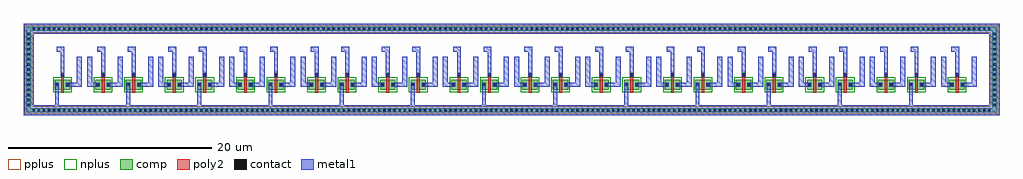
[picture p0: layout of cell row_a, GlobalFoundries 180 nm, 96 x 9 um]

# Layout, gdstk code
import gdstk
lib = gdstk.Library(unit=1e-6, precision=1e-09)
def R(c, l, rs):  # rectangles x0, y0, x1, y1
    for r in rs: c.add(gdstk.rectangle(r[:2], r[2:], *l))
def A(c, l, x, y, w, h, nx, ny, dx, dy):  # array of equal rectangles
    R(c, l, [(x+i*dx, y+j*dy, x+i*dx+w, y+j*dy+h) for i in range(nx) for j in range(ny)])
comp = (22, 0)
poly2 = (30, 0)
pplus = (31, 0)
nplus = (32, 0)
contact = (33, 0)
metal1 = (34, 0)

nfet__0 = lib.new_cell('nfet__0')
R(nfet__0, comp, [(-0.42,0,0,1), (0,0,0.66,1), (0.66,0,1.08,1)])
R(nfet__0, poly2, [(0.19,-0.3,0.47,1.3), (0.15,1.3,0.51,1.66)])
R(nfet__0, nplus, [(-0.59,-0.24,1.25,1.24)])
R(nfet__0, contact, [(-0.32,0.39,-0.1,0.61), (0.76,0.39,0.98,0.61), (0.22,1.37,0.44,1.59)])
R(nfet__0, metal1, [(-0.4,0.305,-0.02,0.695), (0.68,0.305,1.06,0.695), (0.14,1.285,0.52,1.675)])

row_a = lib.new_cell('row_a')
R(row_a, comp, [(-3.21,-2.21,-2.79,6.21), (-2.79,-2.21,91.79,-1.79), (91.79,-2.21,92.21,6.21), (-2.79,5.79,91.79,6.21)])
R(row_a, pplus, [(-3.37,-2.37,92.37,-1.63), (-3.37,-2.37,-2.63,6.37), (91.63,-2.37,92.37,6.37), (-3.37,5.63,92.37,6.37)])
A(row_a, contact, -2.61, -2.11, 0.22, 0.22, 189, 2, 0.5, 8)
A(row_a, contact, -3.11, -1.61, 0.22, 0.22, 1, 15, 0, 0.5)
A(row_a, contact, 91.89, -1.61, 0.22, 0.22, 1, 15, 0, 0.5)
A(row_a, metal1, -0.4, -2, 0.38, 2.325, 13, 1, 7, 0)
A(row_a, metal1, -0.4, 0.305, 0.38, 0.39, 13, 1, 7, 0)
A(row_a, metal1, 2.75, 0.305, 0.5, 2.945, 3, 1, 3, 0)
A(row_a, metal1, 2.75, 0.305, 1.23, 0.39, 13, 1, 7, 0)
A(row_a, metal1, 9.75, 0.305, 0.5, 2.945, 3, 1, 3, 0)
A(row_a, metal1, 16.75, 0.305, 0.5, 2.945, 3, 1, 3, 0)
A(row_a, metal1, 23.75, 0.305, 0.5, 2.945, 3, 1, 3, 0)
A(row_a, metal1, 30.75, 0.305, 0.5, 2.945, 3, 1, 3, 0)
A(row_a, metal1, 37.75, 0.305, 0.5, 2.945, 3, 1, 3, 0)
A(row_a, metal1, 44.75, 0.305, 0.5, 2.945, 3, 1, 3, 0)
A(row_a, metal1, 51.75, 0.305, 0.5, 2.945, 3, 1, 3, 0)
A(row_a, metal1, 58.75, 0.305, 0.5, 2.945, 3, 1, 3, 0)
A(row_a, metal1, 65.75, 0.305, 0.5, 2.945, 3, 1, 3, 0)
A(row_a, metal1, 72.75, 0.305, 0.5, 2.945, 3, 1, 3, 0)
A(row_a, metal1, 79.75, 0.305, 0.5, 2.945, 3, 1, 3, 0)
R(row_a, metal1, [(-3.5,-2.5,-2.5,6.5), (-2.5,-2.5,91.5,-1.5), (91.5,-2.5,92.5,6.5), (0.68,0.305,2.25,0.695), (1.75,0.305,2.25,3.25), (4.68,0.305,6.25,0.695), (7.68,0.305,9.25,0.695), (11.68,0.305,13.25,0.695), (14.68,0.305,16.25,0.695), (18.68,0.305,20.25,0.695), (21.68,0.305,23.25,0.695), (25.68,0.305,27.25,0.695), (28.68,0.305,30.25,0.695), (32.68,0.305,34.25,0.695), (35.68,0.305,37.25,0.695), (39.68,0.305,41.25,0.695), (42.68,0.305,44.25,0.695), (46.68,0.305,48.25,0.695), (49.68,0.305,51.25,0.695), (53.68,0.305,55.25,0.695), (56.68,0.305,58.25,0.695), (60.68,0.305,62.25,0.695), (63.68,0.305,65.25,0.695), (67.68,0.305,69.25,0.695), (70.68,0.305,72.25,0.695), (74.68,0.305,76.25,0.695), (77.68,0.305,79.25,0.695), (81.68,0.305,83.25,0.695), (84.68,0.305,86.25,0.695), (86.75,0.305,87.25,3.25), (88.68,0.305,90.25,0.695), (89.75,0.305,90.25,3.25), (0.14,1.655,0.52,4.25), (4.14,1.655,4.52,4.25), (7.14,1.655,7.52,4.25), (11.14,1.655,11.52,4.25), (14.14,1.655,14.52,4.25), (18.14,1.655,18.52,4.25), (21.14,1.655,21.52,4.25), (25.14,1.655,25.52,4.25), (28.14,1.655,28.52,4.25), (32.14,1.655,32.52,4.25), (35.14,1.655,35.52,4.25), (39.14,1.655,39.52,4.25), (42.14,1.655,42.52,4.25), (46.14,1.655,46.52,4.25), (49.14,1.655,49.52,4.25), (53.14,1.655,53.52,4.25), (56.14,1.655,56.52,4.25), (60.14,1.655,60.52,4.25), (63.14,1.655,63.52,4.25), (67.14,1.655,67.52,4.25), (70.14,1.655,70.52,4.25), (74.14,1.655,74.52,4.25), (77.14,1.655,77.52,4.25), (81.14,1.655,81.52,4.25), (84.14,1.655,84.52,4.25), (88.14,1.655,88.52,4.25), (-0.25,3.75,0.52,4.25), (3.75,3.75,4.52,4.25), (6.75,3.75,7.52,4.25), (10.75,3.75,11.52,4.25), (13.75,3.75,14.52,4.25), (17.75,3.75,18.52,4.25), (20.75,3.75,21.52,4.25), (24.75,3.75,25.52,4.25), (27.75,3.75,28.52,4.25), (31.75,3.75,32.52,4.25), (34.75,3.75,35.52,4.25), (38.75,3.75,39.52,4.25), (41.75,3.75,42.52,4.25), (45.75,3.75,46.52,4.25), (48.75,3.75,49.52,4.25), (52.75,3.75,53.52,4.25), (55.75,3.75,56.52,4.25), (59.75,3.75,60.52,4.25), (62.75,3.75,63.52,4.25), (66.75,3.75,67.52,4.25), (69.75,3.75,70.52,4.25), (73.75,3.75,74.52,4.25), (76.75,3.75,77.52,4.25), (80.75,3.75,81.52,4.25), (83.75,3.75,84.52,4.25), (87.75,3.75,88.52,4.25), (-2.5,5.5,91.5,6.5)])
row_a.add(gdstk.Reference(nfet__0, (0,0)))
row_a.add(gdstk.Reference(nfet__0, (4,0)))
row_a.add(gdstk.Reference(nfet__0, (7,0)))
row_a.add(gdstk.Reference(nfet__0, (11,0)))
row_a.add(gdstk.Reference(nfet__0, (14,0)))
row_a.add(gdstk.Reference(nfet__0, (18,0)))
row_a.add(gdstk.Reference(nfet__0, (21,0)))
row_a.add(gdstk.Reference(nfet__0, (25,0)))
row_a.add(gdstk.Reference(nfet__0, (28,0)))
row_a.add(gdstk.Reference(nfet__0, (32,0)))
row_a.add(gdstk.Reference(nfet__0, (35,0)))
row_a.add(gdstk.Reference(nfet__0, (39,0)))
row_a.add(gdstk.Reference(nfet__0, (42,0)))
row_a.add(gdstk.Reference(nfet__0, (46,0)))
row_a.add(gdstk.Reference(nfet__0, (49,0)))
row_a.add(gdstk.Reference(nfet__0, (53,0)))
row_a.add(gdstk.Reference(nfet__0, (56,0)))
row_a.add(gdstk.Reference(nfet__0, (60,0)))
row_a.add(gdstk.Reference(nfet__0, (63,0)))
row_a.add(gdstk.Reference(nfet__0, (67,0)))
row_a.add(gdstk.Reference(nfet__0, (70,0)))
row_a.add(gdstk.Reference(nfet__0, (74,0)))
row_a.add(gdstk.Reference(nfet__0, (77,0)))
row_a.add(gdstk.Reference(nfet__0, (81,0)))
row_a.add(gdstk.Reference(nfet__0, (84,0)))
row_a.add(gdstk.Reference(nfet__0, (88,0)))

lib.write_gds('row_a.gds')
